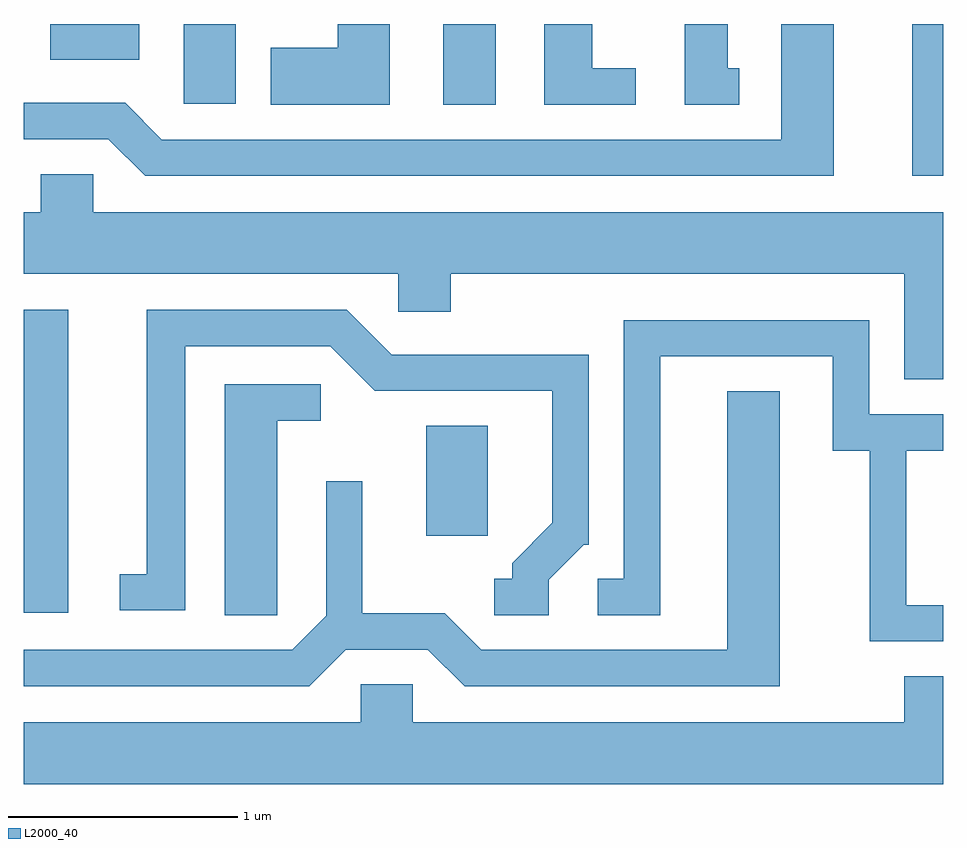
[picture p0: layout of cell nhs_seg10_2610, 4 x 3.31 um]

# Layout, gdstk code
import gdstk
lib = gdstk.Library(unit=1e-6, precision=1e-09)
def R(c, l, rs):  # rectangles x0, y0, x1, y1
    for r in rs: c.add(gdstk.rectangle(r[:2], r[2:], *l))
def P(c, l, *ps):  # polygons
    for p in ps: c.add(gdstk.Polygon(p, *l))
L2000_40 = (2000, 40)

nhs_seg10_2610 = lib.new_cell('nhs_seg10_2610')
R(nhs_seg10_2610, L2000_40, [(261.611,2147.961,261.804,2149.279), (263.361,2148.296,263.629,2148.774), (265.476,2149.861,265.611,2150.522), (263.436,2150.171,263.664,2150.522), (262.306,2150.176,262.534,2150.522), (261.726,2150.366,262.114,2150.522)])
P(nhs_seg10_2610, L2000_40, [(263.204,2150.522),(262.976,2150.522),(262.976,2150.419),(262.686,2150.419),(262.686,2150.171),(263.204,2150.171)],
  [(264.273,2150.329),(264.084,2150.329),(264.084,2150.522),(263.876,2150.522),(263.876,2150.171),(264.273,2150.171)],
  [(265.134,2150.522),(264.906,2150.522),(264.906,2150.019),(262.212,2150.019),(262.052,2150.179),(261.611,2150.179),(261.611,2150.021),(261.979,2150.021),(262.139,2149.861),(265.134,2149.861)],
  [(264.723,2150.329),(264.674,2150.329),(264.674,2150.522),(264.486,2150.522),(264.486,2150.171),(264.723,2150.171)],
  [(265.611,2149.704),(261.914,2149.704),(261.914,2149.869),(261.686,2149.869),(261.686,2149.704),(261.611,2149.704),(261.611,2149.436),(263.241,2149.436),(263.241,2149.271),(263.469,2149.271),(263.469,2149.436),(265.441,2149.436),(265.441,2148.976),(265.611,2148.976)],
  [(263.894,2148.104),(264.047,2148.256),(264.069,2148.256),(264.069,2149.084),(263.212,2149.084),(263.017,2149.279),(262.146,2149.279),(262.146,2148.129),(262.028,2148.129),(262.028,2147.971),(262.314,2147.971),(262.314,2149.121),(262.944,2149.121),(263.139,2148.926),(263.911,2148.926),(263.911,2148.352),(263.736,2148.177),(263.736,2148.109),(263.658,2148.109),(263.658,2147.951),(263.894,2147.951)],
  [(265.611,2147.994),(265.449,2147.994),(265.449,2148.666),(265.611,2148.666),(265.611,2148.824),(265.289,2148.824),(265.289,2149.234),(264.221,2149.234),(264.221,2148.109),(264.108,2148.109),(264.108,2147.951),(264.379,2147.951),(264.379,2149.076),(265.131,2149.076),(265.131,2148.666),(265.291,2148.666),(265.291,2147.836),(265.611,2147.836)],
  [(262.714,2148.796),(262.903,2148.796),(262.903,2148.954),(262.486,2148.954),(262.486,2147.951),(262.714,2147.951)],
  [(263.012,2147.801),(263.369,2147.801),(263.529,2147.641),(264.899,2147.641),(264.899,2148.924),(264.671,2148.924),(264.671,2147.799),(263.602,2147.799),(263.442,2147.959),(263.084,2147.959),(263.084,2148.533),(262.926,2148.533),(262.926,2147.947),(262.779,2147.799),(261.611,2147.799),(261.611,2147.641),(262.852,2147.641)],
  [(265.611,2147.684),(265.441,2147.684),(265.441,2147.484),(263.304,2147.484),(263.304,2147.649),(263.076,2147.649),(263.076,2147.484),(261.611,2147.484),(261.611,2147.216),(265.611,2147.216)])

lib.write_gds('nhs_seg10_2610.gds')
